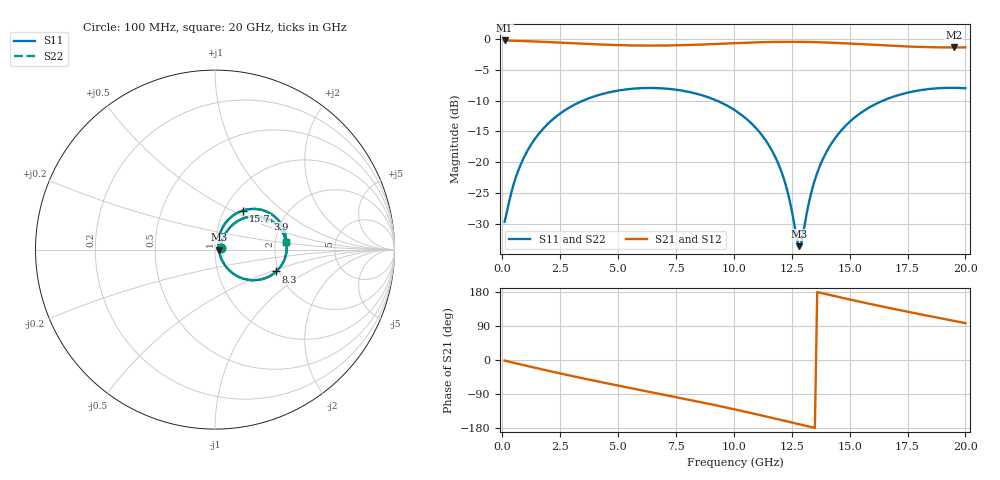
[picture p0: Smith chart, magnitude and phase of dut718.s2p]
! Touchstone file exported from HFSS 2026.1.0
!  File:  C:/ffzhzh/LocalFiles/Ansys_Project_Files/temp_train_TSV_RDL_718_1783201234_51560.aedt
!  Generated:  05:49:44 AM Jul  5, 2026
!  Design:  TSV_RDL
!  Project:  temp_train_TSV_RDL_718_1783201234_51560
! Variables:
!  h_bsmrdl = 3.37um
!  h_ox = 20um
!  h_rdl = 5um
!  h_sub = 81.51um
!  h_tmrdl = 2.13um
!  h_tsv = 81.51um
!  h_via = 3um
!  l_bsmrdl = 759.98um
!  l_sub = 4200.23um
!  l_tmrdl = 355.69um
!  m_sub = 200um
!  pitch = 34.03um
!  r_tsv = 10.41um
!  s_tmrdl = 10um
!  w_bsmrdl = 18.94um
!  w_sub = 500um
!  w_tmrdl = 13.57um
!  x_tsv_center1 = 362.475um
!  x_tsv_center2 = 1141.395um
!  x_tsv_center3 = 1510.655um
!  x_tsv_center4 = 2289.575um
!  x_tsv_center5 = 2658.835um
!  x_tsv_center6 = 3437.755um
# GHz S MA R 50.000000
! Terminal data exported
! Port[1] = TM_RDL1_1_T1
! Port[2] = TM_RDL5_1_T1
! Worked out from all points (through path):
!   200 points, 100 MHz to 20 GHz, reference 50 ohm
!   highest |S21| = -0.27 dB at 100 MHz (marker M1); lowest = -1.4 dB at 19.5 GHz (marker M2)
!   group delay of S21, straight-line fit = 36.6 ps
!   lowest |S11| = -33.6 dB at 12.8 GHz (marker M3), VSWR 1.04, Z = 52.1 - j0.104 ohm
!   |S11| at or under -10 dB: start of sweep to 3.499 GHz; 9.252 GHz to 16.45 GHz (7.2 GHz wide, 56 % of centre)
!   |S22| runs from -33.7 to -7.9 dB; largest |S21 - S12| = 1.8e-14
!   S11 on the Smith chart (normalised r, x): 100 MHz: 1.06, +0.02; 3.9 GHz: 1.67, +0.64; 8.3 GHz: 1.94, -0.54; 15.7 GHz: 1.22, +0.57; 20 GHz: 2.29, +0.22
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0.1  0.03304 20.5  0.9693 -1.5  0.9693 -1.5  0.03304 20.5
! Gamma 0 0 0 0
! Port Impedance 50 0 50 0
0.6  0.07698 54.2  0.9629 -8.9  0.9629 -8.9  0.07699 54.2
1.3  0.1443 56.2  0.953 -18.9  0.953 -18.9  0.1443 56.2
2.3  0.2325 48.1  0.9352 -32.7  0.9352 -32.7  0.2325 48.1
3.5  0.3163 35.0  0.9117 -48.6  0.9117 -48.6  0.3163 35.0
3.9  0.3379 30.5  0.9044 -53.7  0.9044 -53.7  0.3379 30.5
5.3  0.388 14.6  0.8857 -71.1  0.8857 -71.1  0.388 14.6
6.8  0.3979 -2.4  0.8814 -89.3  0.8814 -89.3  0.3978 -2.4
8.3  0.3626 -19.6  0.8939 -107.7  0.8939 -107.7  0.3625 -19.6
10.1  0.2596 -40.8  0.9222 -131.2  0.9222 -131.2  0.2596 -40.9
11.1  0.176 -52.0  0.9367 -144.9  0.9367 -144.9  0.1759 -52.0
11.8  0.1092 -57.4  0.9431 -154.8  0.9431 -154.8  0.1091 -57.5
12.3  0.05979 -55.1  0.9451 -162.0  0.9451 -162.0  0.05968 -55.2
12.8  0.02092 -2.7  0.9445 -169.2  0.9445 -169.2  0.02072 -2.7
12.9  0.02161 24.4  0.9441 -170.6  0.9441 -170.6  0.02144 24.7
13.4  0.0623 70.3  0.9404 -177.8  0.9404 -177.8  0.06227 70.4
13.8  0.1017 72.4  0.9358 176.5  0.9358 176.5  0.1017 72.5
14.3  0.1499 69.3  0.9282 169.4  0.9282 169.4  0.1499 69.4
15.7  0.2674 54.5  0.9003 150.4  0.9003 150.4  0.2674 54.5
16.7  0.33 42.9  0.8798 137.4  0.8798 137.4  0.33 42.9
19.5  0.4009 11.4  0.8507 103.3  0.8507 103.3  0.4009 11.4
20  0.3975 5.9  0.8518 97.3  0.8518 97.3  0.3975 5.9
